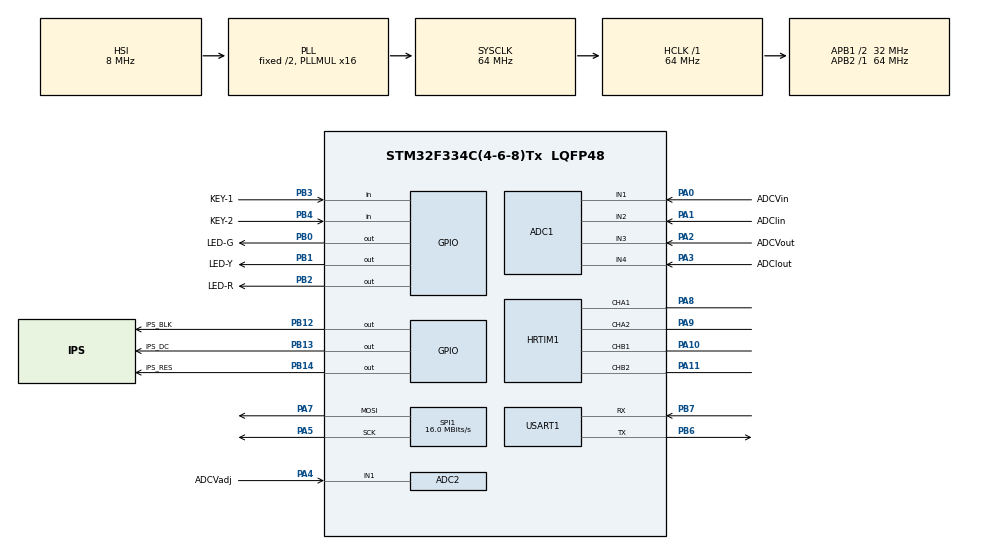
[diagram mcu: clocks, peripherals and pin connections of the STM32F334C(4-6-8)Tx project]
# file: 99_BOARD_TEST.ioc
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ADC1.Channel-5\#ChannelRegularConversion=ADC_CHANNEL_1
ADC1.Channel-6\#ChannelRegularConversion=ADC_CHANNEL_2
ADC1.Channel-7\#ChannelRegularConversion=ADC_CHANNEL_3
ADC1.Channel-8\#ChannelRegularConversion=ADC_CHANNEL_4
ADC1.ClockPrescaler=ADC_CLOCK_SYNC_PCLK_DIV4
ADC1.DMAContinuousRequests=ENABLE
ADC1.EOCSelection=ADC_EOC_SEQ_CONV
ADC1.EnableInjectedConversion=DISABLE
ADC1.EnableRegularConversion=ENABLE
ADC1.ExternalTrigConv=ADC_EXTERNALTRIGCONVHRTIM_TRG1
ADC1.NbrOfConversion=4
ADC1.NbrOfConversionFlag=1
ADC1.Offset-5\#ChannelRegularConversion=0
ADC1.Offset-6\#ChannelRegularConversion=0
ADC1.Offset-7\#ChannelRegularConversion=0
ADC1.Offset-8\#ChannelRegularConversion=0
ADC1.OffsetNumber-5\#ChannelRegularConversion=ADC_OFFSET_NONE
ADC1.OffsetNumber-6\#ChannelRegularConversion=ADC_OFFSET_NONE
ADC1.OffsetNumber-7\#ChannelRegularConversion=ADC_OFFSET_NONE
ADC1.OffsetNumber-8\#ChannelRegularConversion=ADC_OFFSET_NONE
ADC1.Rank-5\#ChannelRegularConversion=1
ADC1.Rank-6\#ChannelRegularConversion=2
ADC1.Rank-7\#ChannelRegularConversion=3
ADC1.Rank-8\#ChannelRegularConversion=4
ADC1.SamplingTime-5\#ChannelRegularConversion=ADC_SAMPLETIME_4CYCLES_5
ADC1.SamplingTime-6\#ChannelRegularConversion=ADC_SAMPLETIME_4CYCLES_5
ADC1.SamplingTime-7\#ChannelRegularConversion=ADC_SAMPLETIME_4CYCLES_5
ADC1.SamplingTime-8\#ChannelRegularConversion=ADC_SAMPLETIME_4CYCLES_5
ADC1.SequencerNbRanks=1
ADC1.SubFamily=STM32F334x8
ADC1.master=1
ADC2.Channel-0\#ChannelRegularConversion=ADC_CHANNEL_1
ADC2.ClockPrescaler=ADC_CLOCK_SYNC_PCLK_DIV4
ADC2.ContinuousConvMode=ENABLE
ADC2.EnableInjectedConversion=DISABLE
ADC2.NbrOfConversionFlag=1
ADC2.Offset-0\#ChannelRegularConversion=0
ADC2.OffsetNumber-0\#ChannelRegularConversion=ADC_OFFSET_NONE
ADC2.Rank-0\#ChannelRegularConversion=1
ADC2.SamplingTime-0\#ChannelRegularConversion=ADC_SAMPLETIME_7CYCLES_5
ADC2.SamplingTimeOPAMP-0\#ChannelRegularConversion=ADC_SAMPLETIME_61CYCLES_5
ADC2.SubFamily=STM32F334x8
Dma.ADC1.0.Direction=DMA_PERIPH_TO_MEMORY
Dma.ADC1.0.Instance=DMA1_Channel1
Dma.ADC1.0.MemDataAlignment=DMA_MDATAALIGN_HALFWORD
Dma.ADC1.0.MemInc=DMA_MINC_ENABLE
Dma.ADC1.0.Mode=DMA_CIRCULAR
Dma.ADC1.0.PeriphDataAlignment=DMA_PDATAALIGN_HALFWORD
Dma.ADC1.0.PeriphInc=DMA_PINC_DISABLE
Dma.ADC1.0.Priority=DMA_PRIORITY_HIGH
Dma.Request0=ADC1
HRTIM1.ADCTrigger1_Source1=HRTIM_ADCTRIGGEREVENT13_TIMERA_CMP3
HRTIM1.ADCTrigger_Id1=HRTIM_ADCTRIGGER_1
HRTIM1.CompareUnit1-Output_TA1TA2=HRTIM_COMPAREUNIT_1
HRTIM1.CompareUnit1-Output_TB1TB2=HRTIM_COMPAREUNIT_1
HRTIM1.CompareUnit3-Output_TA1TA2=HRTIM_COMPAREUNIT_3
HRTIM1.CompareValue1-Output_TA1TA2=5000
HRTIM1.CompareValue1-Output_TB1TB2=9000
HRTIM1.CompareValue3-Output_TA1TA2=2500
HRTIM1.Configuration_TA=Waveform
HRTIM1.DeadTimeInsertion-Output_TA1TA2=HRTIM_TIMDEADTIMEINSERTION_ENABLED
HRTIM1.DeadTimeInsertion-Output_TB1TB2=HRTIM_TIMDEADTIMEINSERTION_ENABLED
HRTIM1.FallingLock-Output_TA1TA2=HRTIM_TIMDEADTIME_FALLINGLOCK_READONLY
HRTIM1.FallingLock-Output_TB1TB2=HRTIM_TIMDEADTIME_FALLINGLOCK_READONLY
HRTIM1.FallingSignLock-Output_TA1TA2=HRTIM_TIMDEADTIME_FALLINGSIGNLOCK_READONLY
HRTIM1.FallingSignLock-Output_TB1TB2=HRTIM_TIMDEADTIME_FALLINGSIGNLOCK_READONLY
HRTIM1.FallingValue-Output_TA1TA2=180
HRTIM1.FallingValue-Output_TB1TB2=100
HRTIM1.FaultLock-Output_TA1TA2=HRTIM_TIMFAULTLOCK_READONLY
HRTIM1.FaultLock-Output_TB1TB2=HRTIM_TIMFAULTLOCK_READONLY
HRTIM1.InterruptRequests1-Output_TA1TA2=HRTIM_TIM_IT_REP
HRTIM1.NumberADCTriggerSource1=1
HRTIM1.NumberInterruptRequests-Output_TA1TA2=1
HRTIM1.NumberResetSource1-Output_TA1TA2=1
HRTIM1.NumberResetSource1-Output_TB1TB2=1
HRTIM1.NumberSetSource1-Output_TA1TA2=1
HRTIM1.NumberSetSource1-Output_TB1TB2=1
HRTIM1.NumberUpdateTrigger-Output_TA1TA2=0
HRTIM1.Periode_TA=10240
HRTIM1.Periode_TB=10240
HRTIM1.PreloadEnable-Output_TA1TA2=HRTIM_PRELOAD_ENABLED
HRTIM1.PreloadEnable-Output_TB1TB2=HRTIM_PRELOAD_ENABLED
HRTIM1.PrescalerRatio_TA=HRTIM_PRESCALERRATIO_MUL16
HRTIM1.PrescalerRatio_TB=HRTIM_PRESCALERRATIO_MUL16
HRTIM1.RepetitionCounter-Output_TA1TA2=0
HRTIM1.RepetitionUpdate-Output_TA1TA2=HRTIM_UPDATEONREPETITION_ENABLED
HRTIM1.RepetitionUpdate-Output_TB1TB2=HRTIM_UPDATEONREPETITION_ENABLED
HRTIM1.ResetOutput1_Source1-Output_TA1TA2=HRTIM_OUTPUTRESET_TIMCMP1
HRTIM1.ResetOutput1_Source1-Output_TB1TB2=HRTIM_OUTPUTRESET_TIMCMP1
HRTIM1.RisingLock-Output_TA1TA2=HRTIM_TIMDEADTIME_RISINGLOCK_READONLY
HRTIM1.RisingLock-Output_TB1TB2=HRTIM_TIMDEADTIME_RISINGLOCK_READONLY
HRTIM1.RisingSignLock-Output_TA1TA2=HRTIM_TIMDEADTIME_RISINGSIGNLOCK_READONLY
HRTIM1.RisingSignLock-Output_TB1TB2=HRTIM_TIMDEADTIME_RISINGSIGNLOCK_READONLY
HRTIM1.RisingValue-Output_TA1TA2=180
HRTIM1.RisingValue-Output_TB1TB2=180
HRTIM1.SetOutput1_Source1-Output_TA1TA2=HRTIM_OUTPUTSET_TIMPER
HRTIM1.SetOutput1_Source1-Output_TB1TB2=HRTIM_OUTPUTSET_TIMPER
Mcu.Family=STM32F3
Mcu.Name=STM32F334C(4-6-8)Tx
Mcu.Package=LQFP48
NVIC.HRTIM1_TIMA_IRQn=true\:1\:0\:true\:false\:true\:true\:true\:true
NVIC.PriorityGroup=NVIC_PRIORITYGROUP_4
NVIC.TIM3_IRQn=true\:2\:0\:true\:false\:true\:true\:true\:true
PA0.GPIO_Label=ADCVin
PA0.Mode=IN1-Single-Ended
PA0.Signal=ADC1_IN1
PA1.GPIO_Label=ADCIin
PA1.Mode=IN2-Single-Ended
PA1.Signal=ADC1_IN2
PA10.Mode=Output_TB1TB2
PA10.Signal=HRTIM1_CHB1
PA11.Mode=Output_TB1TB2
PA11.Signal=HRTIM1_CHB2
PA13.Mode=Serial_Wire
PA13.Signal=SYS_JTMS-SWDIO
PA14.Mode=Serial_Wire
PA14.Signal=SYS_JTCK-SWCLK
PA2.GPIO_Label=ADCVout
PA2.Mode=IN3-Single-Ended
PA2.Signal=ADC1_IN3
PA3.GPIO_Label=ADCIout
PA3.Mode=IN4-Single-Ended
PA3.Signal=ADC1_IN4
PA4.GPIO_Label=ADCVadj
PA4.Mode=IN1-Single-Ended
PA4.Signal=ADC2_IN1
PA5.Mode=TX_Only_Simplex_Unidirect_Master
PA5.Signal=SPI1_SCK
PA7.Mode=TX_Only_Simplex_Unidirect_Master
PA7.Signal=SPI1_MOSI
PA8.GPIO_PuPd=GPIO_PULLUP
PA8.Mode=Output_TA1TA2
PA8.Signal=HRTIM1_CHA1
PA9.GPIO_PuPd=GPIO_PULLUP
PA9.Mode=Output_TA1TA2
PA9.Signal=HRTIM1_CHA2
PB0.GPIO_Label=LED-G
PB0.GPIO_PuPd=GPIO_PULLUP
PB0.GPIO_Speed=GPIO_SPEED_FREQ_HIGH
PB0.Signal=GPIO_Output
PB1.GPIO_Label=LED-Y
PB1.GPIO_PuPd=GPIO_PULLUP
PB1.GPIO_Speed=GPIO_SPEED_FREQ_HIGH
PB1.Signal=GPIO_Output
PB12.GPIO_Label=IPS_BLK
PB12.Signal=GPIO_Output
PB13.GPIO_Label=IPS_DC
PB13.Signal=GPIO_Output
PB14.GPIO_Label=IPS_RES
PB14.Signal=GPIO_Output
PB2.GPIO_Label=LED-R
PB2.GPIO_PuPd=GPIO_PULLUP
PB2.GPIO_Speed=GPIO_SPEED_FREQ_HIGH
PB2.Signal=GPIO_Output
PB3.GPIO_Label=KEY-1
PB3.GPIO_PuPd=GPIO_PULLUP
PB3.Signal=GPIO_Input
PB4.GPIO_Label=KEY-2
PB4.GPIO_PuPd=GPIO_PULLUP
PB4.Signal=GPIO_Input
PB6.Mode=Asynchronous
PB6.Signal=USART1_TX
PB7.Mode=Asynchronous
PB7.Signal=USART1_RX
ProjectManager.HeapSize=0x200
ProjectManager.StackSize=0x400
ProjectManager.TargetToolchain=Makefile
RCC.AHBFreq_Value=64000000
RCC.APB1CLKDivider=RCC_HCLK_DIV2
RCC.APB1Freq_Value=32000000
RCC.APB1TimFreq_Value=64000000
RCC.APB2Freq_Value=64000000
RCC.APB2TimFreq_Value=64000000
RCC.CortexFreq_Value=64000000
RCC.HCLKFreq_Value=64000000
RCC.HRTIMSelection=RCC_HRTIM1CLK_PLLCLK
RCC.HSE_VALUE=8000000
RCC.HSI_VALUE=8000000
RCC.LSE_VALUE=32768
RCC.PLLMUL=RCC_PLL_MUL16
RCC.SYSCLKFreq_VALUE=64000000
SPI1.BaudRatePrescaler=SPI_BAUDRATEPRESCALER_4
SPI1.CLKPhase=SPI_PHASE_2EDGE
SPI1.CLKPolarity=SPI_POLARITY_HIGH
SPI1.CalculateBaudRate=16.0 MBits/s
SPI1.DataSize=SPI_DATASIZE_8BIT
SPI1.Direction=SPI_DIRECTION_2LINES
SPI1.Mode=SPI_MODE_MASTER
SPI1.VirtualType=VM_MASTER
TIM3.Period=10000
TIM3.Prescaler=32
USART1.VirtualMode-Asynchronous=VM_ASYNC
VP_TIM3_VS_ClockSourceINT.Mode=Internal
VP_TIM3_VS_ClockSourceITR.Mode=TriggerSource_ITR0
board=custom

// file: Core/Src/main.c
/* USER CODE BEGIN Header */
/**
  ******************************************************************************
  * @file           : main.c
  * @brief          : Main program body
  ******************************************************************************
  * @attention
  *
  * Copyright (c) 2023 STMicroelectronics.
  * All rights reserved.
  *
  * This software is licensed under terms that can be found in the LICENSE file
  * in the root directory of this software component.
  * If no LICENSE file comes with this software, it is provided AS-IS.
  *
  ******************************************************************************
  */
/* USER CODE END Header */
#include "main.h"
#include "adc.h"
#include "dma.h"
#include "hrtim.h"
#include "spi.h"
#include "tim.h"
#include "usart.h"
#include "gpio.h"

/* USER CODE BEGIN Includes */
#include "Unity/unity.h"
/* USER CODE END Includes */

void SystemClock_Config(void);

/* USER CODE BEGIN 0 */
#ifdef ENABLE_UNIT_TESTING
void setUp (void) {} /* Is run before every test, put unit init calls here. */
void tearDown (void) {} /* Is run after every test, put unit clean-up calls here. */
#endif
/* USER CODE END 0 */

int main(void)
{

  /* MCU Configuration--------------------------------------------------------*/

  /* Reset of all peripherals, Initializes the Flash interface and the Systick. */
  HAL_Init();

  /* USER CODE BEGIN Init */
  init();

#ifdef USE_TEST_FRAMEWORK_UNITY

  extern void BBC_SW_LLR_BOARD_TEST_01_01( void );
  extern void BBC_SW_LLR_BOARD_TEST_02_01( void );

  UNITY_BEGIN();

  RUN_TEST( BBC_SW_LLR_BOARD_TEST_01_01 );
  RUN_TEST( BBC_SW_LLR_BOARD_TEST_02_01 );

  int result = UNITY_END();

  SEGGER_RTT_WriteString( 0, ( result == HAL_OK ) ? "--- PASSED ---\n" : "--- FAILED ---\n" );

  // Останавливаем JRun.
  SEGGER_RTT_WriteString( 0, "*STOP*\n" );

  return HAL_OK;

#endif
  /* USER CODE END Init */

  /* Configure the system clock */
  SystemClock_Config();

  /* Initialize all configured peripherals */
  MX_GPIO_Init();
  MX_DMA_Init();
  MX_ADC1_Init();
  MX_ADC2_Init();
  MX_HRTIM1_Init();
  MX_SPI1_Init();
  MX_TIM3_Init();
  MX_USART1_UART_Init();

  /* Infinite loop */
  /* USER CODE BEGIN WHILE */
  setup();

  while (1)
  {
	loop();
    /* USER CODE END WHILE */

  }
}

void SystemClock_Config(void)
{
  RCC_OscInitTypeDef RCC_OscInitStruct = {0};
  RCC_ClkInitTypeDef RCC_ClkInitStruct = {0};
  RCC_PeriphCLKInitTypeDef PeriphClkInit = {0};

  /** Initializes the RCC Oscillators according to the specified parameters
  * in the RCC_OscInitTypeDef structure.
  */
  RCC_OscInitStruct.OscillatorType = RCC_OSCILLATORTYPE_HSI;
  RCC_OscInitStruct.HSIState = RCC_HSI_ON;
  RCC_OscInitStruct.HSICalibrationValue = RCC_HSICALIBRATION_DEFAULT;
  RCC_OscInitStruct.PLL.PLLState = RCC_PLL_ON;
  RCC_OscInitStruct.PLL.PLLSource = RCC_PLLSOURCE_HSI;
  RCC_OscInitStruct.PLL.PLLMUL = RCC_PLL_MUL16;
  if (HAL_RCC_OscConfig(&RCC_OscInitStruct) != HAL_OK)
  {
    Error_Handler();
  }

  /** Initializes the CPU, AHB and APB buses clocks
  */
  RCC_ClkInitStruct.ClockType = RCC_CLOCKTYPE_HCLK|RCC_CLOCKTYPE_SYSCLK
                              |RCC_CLOCKTYPE_PCLK1|RCC_CLOCKTYPE_PCLK2;
  RCC_ClkInitStruct.SYSCLKSource = RCC_SYSCLKSOURCE_PLLCLK;
  RCC_ClkInitStruct.AHBCLKDivider = RCC_SYSCLK_DIV1;
  RCC_ClkInitStruct.APB1CLKDivider = RCC_HCLK_DIV2;
  RCC_ClkInitStruct.APB2CLKDivider = RCC_HCLK_DIV1;

  if (HAL_RCC_ClockConfig(&RCC_ClkInitStruct, FLASH_LATENCY_2) != HAL_OK)
  {
    Error_Handler();
  }
  PeriphClkInit.PeriphClockSelection = RCC_PERIPHCLK_HRTIM1|RCC_PERIPHCLK_USART1;
  PeriphClkInit.Usart1ClockSelection = RCC_USART1CLKSOURCE_PCLK1;
  PeriphClkInit.Hrtim1ClockSelection = RCC_HRTIM1CLK_PLLCLK;
  if (HAL_RCCEx_PeriphCLKConfig(&PeriphClkInit) != HAL_OK)
  {
    Error_Handler();
  }
}

void Error_Handler(void)
{
  __disable_irq();
  while (1)
  {
  }
}
